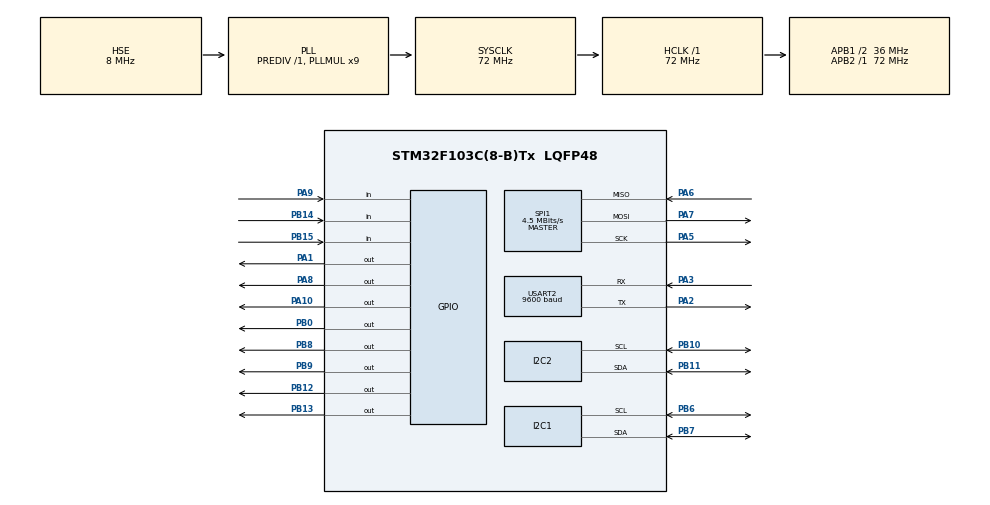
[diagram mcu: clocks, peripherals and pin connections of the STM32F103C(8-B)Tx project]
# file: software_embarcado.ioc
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Dma.I2C1_RX.0.Direction=DMA_PERIPH_TO_MEMORY
Dma.I2C1_RX.0.Instance=DMA1_Channel7
Dma.I2C1_RX.0.MemDataAlignment=DMA_MDATAALIGN_BYTE
Dma.I2C1_RX.0.MemInc=DMA_MINC_ENABLE
Dma.I2C1_RX.0.Mode=DMA_NORMAL
Dma.I2C1_RX.0.PeriphDataAlignment=DMA_PDATAALIGN_BYTE
Dma.I2C1_RX.0.PeriphInc=DMA_PINC_DISABLE
Dma.I2C1_RX.0.Priority=DMA_PRIORITY_LOW
Dma.Request0=I2C1_RX
I2C1.I2C_Mode=I2C_Fast
I2C2.I2C_Mode=I2C_Fast
Mcu.Family=STM32F1
Mcu.Name=STM32F103C(8-B)Tx
Mcu.Package=LQFP48
NVIC.DMA1_Channel7_IRQn=true\:0\:0\:false\:false\:true\:false\:true\:true
NVIC.I2C1_EV_IRQn=true\:0\:0\:false\:false\:true\:true\:true\:true
NVIC.I2C2_EV_IRQn=true\:0\:0\:false\:false\:true\:true\:true\:true
NVIC.PriorityGroup=NVIC_PRIORITYGROUP_4
PA1.Signal=GPIO_Output
PA10.Signal=GPIO_Output
PA13.Mode=Serial_Wire
PA13.Signal=SYS_JTMS-SWDIO
PA14.Mode=Serial_Wire
PA14.Signal=SYS_JTCK-SWCLK
PA2.Mode=Asynchronous
PA2.Signal=USART2_TX
PA3.Mode=Asynchronous
PA3.Signal=USART2_RX
PA5.Mode=Full_Duplex_Master
PA5.Signal=SPI1_SCK
PA6.Mode=Full_Duplex_Master
PA6.Signal=SPI1_MISO
PA7.Mode=Full_Duplex_Master
PA7.Signal=SPI1_MOSI
PA8.GPIO_PuPd=GPIO_NOPULL
PA8.Signal=GPIO_Output
PA9.GPIO_PuPd=GPIO_PULLUP
PA9.Signal=GPIO_Input
PB0.Signal=GPIO_Output
PB10.Mode=I2C
PB10.Signal=I2C2_SCL
PB11.Mode=I2C
PB11.Signal=I2C2_SDA
PB12.Signal=GPIO_Output
PB13.Signal=GPIO_Output
PB14.GPIO_PuPd=GPIO_PULLUP
PB14.Signal=GPIO_Input
PB15.GPIO_PuPd=GPIO_PULLUP
PB15.Signal=GPIO_Input
PB6.Mode=I2C
PB6.Signal=I2C1_SCL
PB7.Mode=I2C
PB7.Signal=I2C1_SDA
PB8.Signal=GPIO_Output
PB9.Signal=GPIO_Output
PD0-OSC_IN.Mode=HSE-External-Oscillator
PD0-OSC_IN.Signal=RCC_OSC_IN
PD1-OSC_OUT.Mode=HSE-External-Oscillator
PD1-OSC_OUT.Signal=RCC_OSC_OUT
ProjectManager.HeapSize=0x200
ProjectManager.StackSize=0x400
ProjectManager.TargetToolchain=STM32CubeIDE
RCC.AHBFreq_Value=72000000
RCC.APB1CLKDivider=RCC_HCLK_DIV2
RCC.APB1Freq_Value=36000000
RCC.APB1TimFreq_Value=72000000
RCC.APB2Freq_Value=72000000
RCC.APB2TimFreq_Value=72000000
RCC.HCLKFreq_Value=72000000
RCC.PLLMUL=RCC_PLL_MUL9
RCC.PLLSourceVirtual=RCC_PLLSOURCE_HSE
RCC.SYSCLKFreq_VALUE=72000000
RCC.SYSCLKSource=RCC_SYSCLKSOURCE_PLLCLK
RCC.USBFreq_Value=72000000
SPI1.BaudRatePrescaler=SPI_BAUDRATEPRESCALER_16
SPI1.CalculateBaudRate=4.5 MBits/s
SPI1.Direction=SPI_DIRECTION_2LINES
SPI1.Mode=SPI_MODE_MASTER
SPI1.VirtualType=VM_MASTER
USART2.BaudRate=9600
USART2.VirtualMode=VM_ASYNC
board=custom

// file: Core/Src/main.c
/* USER CODE BEGIN Header */
/**
  ******************************************************************************
  * @file           : main.c
  * @brief          : Main program body
  ******************************************************************************
  * @attention
  *
  * Copyright (c) 2023 STMicroelectronics.
  * All rights reserved.
  *
  * This software is licensed under terms that can be found in the LICENSE file
  * in the root directory of this software component.
  * If no LICENSE file comes with this software, it is provided AS-IS.
  *
  ******************************************************************************
  */
/* USER CODE END Header */
#include "main.h"

I2C_HandleTypeDef hi2c1;
I2C_HandleTypeDef hi2c2;
DMA_HandleTypeDef hdma_i2c1_rx;

SPI_HandleTypeDef hspi1;

UART_HandleTypeDef huart2;

void SystemClock_Config(void);
static void MX_GPIO_Init(void);
static void MX_DMA_Init(void);
static void MX_I2C1_Init(void);
static void MX_I2C2_Init(void);
static void MX_SPI1_Init(void);
static void MX_USART2_UART_Init(void);

/* USER CODE BEGIN 0 */

#define MEMORY_SIZE 20

uint8_t button = 0; // esse botao ON/OFF inicia o processo de lançamento, quando 1, entra no case de aguardando
uint8_t start_recording = 0;
uint8_t pin_state1;
uint8_t pin_state2;

// Definindo os estados da máquina de estados
typedef enum {
  PAUSADO,
  AGUARDANDO_LANCAMENTO,
  LANCADO,
  VOANDO_ACELERADO,
  VOANDO_RETARDADO,
  PARAQUEDAS_ACIONADO
} state;

// Definindo a estrutura para armazenar os dados do veículo
typedef struct {
  float aceleracao;
  float altitude_data;
  float altitude_inicial ;
  float ultima_altitude;
} data_vehicle;

/* USER CODE END 0 */

int main(void)
{

  /* MCU Configuration--------------------------------------------------------*/

  /* Reset of all peripherals, Initializes the Flash interface and the Systick. */
  HAL_Init();

  /* Configure the system clock */
  SystemClock_Config();

  /* Initialize all configured peripherals */
  MX_GPIO_Init();
  MX_DMA_Init();
  MX_I2C1_Init();
  MX_I2C2_Init();
  MX_SPI1_Init();
  MX_USART2_UART_Init();
  /* USER CODE BEGIN 2 */

  // INICIALIZA ESTADO DOS INDICADORES DE PRÉ LANÇAMENTO
	state current_state = PAUSADO;
	data_vehicle data;

	HAL_GPIO_WritePin(GPIOB, GPIO_PIN_3, GPIO_PIN_RESET); // LED
	HAL_GPIO_WritePin(GPIOB, GPIO_PIN_4, GPIO_PIN_RESET); // BUZER

  // INICIALIZA OS PINOS DE ACIONAR CARGA
	HAL_GPIO_WritePin(GPIOB, GPIO_PIN_12, GPIO_PIN_RESET); // ACIONA CARGA 1 = 0
	HAL_GPIO_WritePin(GPIOB, GPIO_PIN_13, GPIO_PIN_RESET); // ACIONA CARGA 2 = 0

	pin_state1 = HAL_GPIO_ReadPin(GPIOB, GPIO_PIN_14); // Lê o estado do pino GPIO14 para carga 1
	pin_state2 = HAL_GPIO_ReadPin(GPIOB, GPIO_PIN_15); // Lê o estado do pino GPIO15 para carga 2

  // CONFIGURAÇÃO DE SENSORES
	MPU6050_Config();
	HAL_DMA_IRQHandler(&hdma_i2c1_rx);

	BMP280_Config(0x02, 0x05, 0x03, 0x00, 0x04);

  // MÉDIA MÓVEL EXPONENCIAL
    AccelData accel_data;
    float alpha = 0.2;
    double memory_x[MEMORY_SIZE];
    double memory_y[MEMORY_SIZE];
    double memory_z[MEMORY_SIZE];
    int memory_index = 0;
    float data_receive[200];

/*
   // memory_x[memory_index] = (float *) malloc(MEMORY_SIZE * sizeof(float));
   // memory_y[memory_index] = (float *) malloc(MEMORY_SIZE * sizeof(float));
   // memory_z[memory_index] = (float *) malloc(MEMORY_SIZE * sizeof(float));
*/
    if (memory_x == NULL || memory_y == NULL || memory_z == NULL) {
        printf("Erro: não foi possível alocar memória.\n");
        exit(1);
    }

  /* USER CODE END 2 */

  /* Infinite loop */
  /* USER CODE BEGIN WHILE */
  while (1)
  {
/*
 * 	uint16_t i;
	for (i = 0; i < 6; i++) {
		memcpy(&data[i], &data_ad[i],1);
	}
*/
	FRAM_ID();

	while (HAL_DMA_GetState(&hdma_i2c1_rx) != HAL_DMA_STATE_READY);
	{
		read_accel();
	}

	float accel_x = accel_data.Ax; // função que lê a aceleração no eixo X
	float accel_y = accel_data.Ay; // função que lê a aceleração no eixo Y
	float accel_z = accel_data.Az; // função que lê a aceleração no eixo Z

	// Calcular EMA para cada eixo
	memory_x[memory_index] = alpha * accel_x + (1 - alpha) * memory_x[memory_index];
	memory_y[memory_index] = alpha * accel_y + (1 - alpha) * memory_y[memory_index];
	memory_z[memory_index] = alpha * accel_z + (1 - alpha) * memory_z[memory_index];

	memory_index = (memory_index + 1) % MEMORY_SIZE;

	if (memory_index == 0) {
		// Envia os dados para a FRAM

	}
	FRAM_Read(0x6000, data_receive, 200);
	HAL_Delay(10);

   // free(memory_x);
   // free(memory_y);
   // free(memory_z);

	/*
	switch (current_state) {
      case PAUSADO:
        if (HAL_GPIO_ReadPin(GPIOA, GPIO_PIN_9) == GPIO_PIN_RESET && pin_state1 == GPIO_PIN_RESET &&  pin_state2 == GPIO_PIN_RESET)
        {
			//GPIO_PIN_RESET = botão pressionado
			HAL_GPIO_WritePin(GPIOA, GPIO_PIN_8, GPIO_PIN_SET); // aciona o LED para indicar gravação

			// as duas cargas estao conectadas e entra em aguardar lançamento
			data.altitude_inicial = altitude[1];
			current_state = AGUARDANDO_LANCAMENTO;
        }
        else if (HAL_GPIO_ReadPin(GPIOA, GPIO_PIN_9) == GPIO_PIN_SET)
        {
        	start_recording = 0;
        	HAL_GPIO_TogglePin(GPIOB, GPIO_PIN_8);
        	current_state = PAUSADO;
        }

      case AGUARDANDO_LANCAMENTO:
        if(data.aceleracao > 0 && data.altitude_data != data.altitude_inicial)
        {
        	current_state = LANCADO;
        }
        else if (data.aceleracao == 0 && data.altitude_data == data.altitude_inicial)
        {
			HAL_GPIO_TogglePin(GPIOA, GPIO_PIN_1); // BUZZER
			HAL_Delay(100);
			HAL_GPIO_TogglePin(GPIOB, GPIO_PIN_9); // LED INDICAÇÃO AGUARDANDO LANÇAMENTO
			HAL_Delay(100);

        	start_recording = 1;
	 	 	 // HAL_GPIO_TogglePin(GPIOB, GPIO_PIN_8); // LED INDICAÇÃO GRAVANDO DADOS
        	current_state = AGUARDANDO_LANCAMENTO;
        }
        break;

      case LANCADO:
        if (data.aceleracao > 0)
        {
        	current_state = VOANDO_ACELERADO;
        }
        break;

      case VOANDO_ACELERADO:
        if (data.aceleracao < -9.8)
        {
        	current_state = VOANDO_RETARDADO;
        }
        else if (data.aceleracao > 0)
        {
        	current_state = VOANDO_ACELERADO;
        }
        break;

      case VOANDO_RETARDADO:
        if (data.aceleracao > -9.8) {
        	current_state = VOANDO_ACELERADO;
			data.ultima_altitude = data.altitude_data;
			//printf("O veiculo estava em voo retardado a %.2f metros de altitude.\n", data.altitude);
        }
        else if (data.aceleracao < -9.8)
        {
        	current_state = VOANDO_RETARDADO;
        }
        else if (data.aceleracao < 0)
        {
        	current_state = PARAQUEDAS_ACIONADO;
        }
        break;

      case PARAQUEDAS_ACIONADO:
        if (data.aceleracao < -9.8 && data.aceleracao < 0)
        {
        	HAL_GPIO_WritePin(GPIOB, GPIO_PIN_12, GPIO_PIN_SET); // ACIONA CARGA 1 = 1;
        	HAL_GPIO_WritePin(GPIOB, GPIO_PIN_13, GPIO_PIN_SET); //ACIONA CARGA 2 = 1; paraquedas on
        	current_state = PARAQUEDAS_ACIONADO;
        }
        //revisar esse elseif
        else if (data.altitude_data == data.altitude_inicial && data.aceleracao == 0 && pin_state1 == GPIO_PIN_SET &&  pin_state2 == GPIO_PIN_SET)
        {
        	current_state = PAUSADO;
        }
        else
        {
        //  printf("O paraquedas foi acionado a uma altitude de %.2f metros.\n", veiculo.ultima_altitude);
        	return 0;
        }
        break;
    }
/*
    /* USER CODE END WHILE */

  }
}

void SystemClock_Config(void)
{
  RCC_OscInitTypeDef RCC_OscInitStruct = {0};
  RCC_ClkInitTypeDef RCC_ClkInitStruct = {0};

  /** Initializes the RCC Oscillators according to the specified parameters
  * in the RCC_OscInitTypeDef structure.
  */
  RCC_OscInitStruct.OscillatorType = RCC_OSCILLATORTYPE_HSE;
  RCC_OscInitStruct.HSEState = RCC_HSE_ON;
  RCC_OscInitStruct.HSEPredivValue = RCC_HSE_PREDIV_DIV1;
  RCC_OscInitStruct.HSIState = RCC_HSI_ON;
  RCC_OscInitStruct.PLL.PLLState = RCC_PLL_ON;
  RCC_OscInitStruct.PLL.PLLSource = RCC_PLLSOURCE_HSE;
  RCC_OscInitStruct.PLL.PLLMUL = RCC_PLL_MUL9;
  if (HAL_RCC_OscConfig(&RCC_OscInitStruct) != HAL_OK)
  {
    Error_Handler();
  }

  /** Initializes the CPU, AHB and APB buses clocks
  */
  RCC_ClkInitStruct.ClockType = RCC_CLOCKTYPE_HCLK|RCC_CLOCKTYPE_SYSCLK
                              |RCC_CLOCKTYPE_PCLK1|RCC_CLOCKTYPE_PCLK2;
  RCC_ClkInitStruct.SYSCLKSource = RCC_SYSCLKSOURCE_PLLCLK;
  RCC_ClkInitStruct.AHBCLKDivider = RCC_SYSCLK_DIV1;
  RCC_ClkInitStruct.APB1CLKDivider = RCC_HCLK_DIV2;
  RCC_ClkInitStruct.APB2CLKDivider = RCC_HCLK_DIV1;

  if (HAL_RCC_ClockConfig(&RCC_ClkInitStruct, FLASH_LATENCY_2) != HAL_OK)
  {
    Error_Handler();
  }
}

static void MX_I2C1_Init(void)
{

  hi2c1.Instance = I2C1;
  hi2c1.Init.ClockSpeed = 400000;
  hi2c1.Init.DutyCycle = I2C_DUTYCYCLE_2;
  hi2c1.Init.OwnAddress1 = 0;
  hi2c1.Init.AddressingMode = I2C_ADDRESSINGMODE_7BIT;
  hi2c1.Init.DualAddressMode = I2C_DUALADDRESS_DISABLE;
  hi2c1.Init.OwnAddress2 = 0;
  hi2c1.Init.GeneralCallMode = I2C_GENERALCALL_DISABLE;
  hi2c1.Init.NoStretchMode = I2C_NOSTRETCH_DISABLE;
  if (HAL_I2C_Init(&hi2c1) != HAL_OK)
  {
    Error_Handler();
  }

}

static void MX_I2C2_Init(void)
{

  hi2c2.Instance = I2C2;
  hi2c2.Init.ClockSpeed = 400000;
  hi2c2.Init.DutyCycle = I2C_DUTYCYCLE_2;
  hi2c2.Init.OwnAddress1 = 0;
  hi2c2.Init.AddressingMode = I2C_ADDRESSINGMODE_7BIT;
  hi2c2.Init.DualAddressMode = I2C_DUALADDRESS_DISABLE;
  hi2c2.Init.OwnAddress2 = 0;
  hi2c2.Init.GeneralCallMode = I2C_GENERALCALL_DISABLE;
  hi2c2.Init.NoStretchMode = I2C_NOSTRETCH_DISABLE;
  if (HAL_I2C_Init(&hi2c2) != HAL_OK)
  {
    Error_Handler();
  }

}

static void MX_SPI1_Init(void)
{

  /* SPI1 parameter configuration*/
  hspi1.Instance = SPI1;
  hspi1.Init.Mode = SPI_MODE_MASTER;
  hspi1.Init.Direction = SPI_DIRECTION_2LINES;
  hspi1.Init.DataSize = SPI_DATASIZE_8BIT;
  hspi1.Init.CLKPolarity = SPI_POLARITY_LOW;
  hspi1.Init.CLKPhase = SPI_PHASE_1EDGE;
  hspi1.Init.NSS = SPI_NSS_SOFT;
  hspi1.Init.BaudRatePrescaler = SPI_BAUDRATEPRESCALER_16;
  hspi1.Init.FirstBit = SPI_FIRSTBIT_MSB;
  hspi1.Init.TIMode = SPI_TIMODE_DISABLE;
  hspi1.Init.CRCCalculation = SPI_CRCCALCULATION_DISABLE;
  hspi1.Init.CRCPolynomial = 10;
  if (HAL_SPI_Init(&hspi1) != HAL_OK)
  {
    Error_Handler();
  }

}

static void MX_USART2_UART_Init(void)
{

  huart2.Instance = USART2;
  huart2.Init.BaudRate = 9600;
  huart2.Init.WordLength = UART_WORDLENGTH_8B;
  huart2.Init.StopBits = UART_STOPBITS_1;
  huart2.Init.Parity = UART_PARITY_NONE;
  huart2.Init.Mode = UART_MODE_TX_RX;
  huart2.Init.HwFlowCtl = UART_HWCONTROL_NONE;
  huart2.Init.OverSampling = UART_OVERSAMPLING_16;
  if (HAL_UART_Init(&huart2) != HAL_OK)
  {
    Error_Handler();
  }

}

static void MX_DMA_Init(void)
{

  /* DMA controller clock enable */
  __HAL_RCC_DMA1_CLK_ENABLE();

  /* DMA interrupt init */
  /* DMA1_Channel7_IRQn interrupt configuration */
  HAL_NVIC_SetPriority(DMA1_Channel7_IRQn, 0, 0);
  HAL_NVIC_EnableIRQ(DMA1_Channel7_IRQn);

}

static void MX_GPIO_Init(void)
{
  GPIO_InitTypeDef GPIO_InitStruct = {0};

  /* GPIO Ports Clock Enable */
  __HAL_RCC_GPIOD_CLK_ENABLE();
  __HAL_RCC_GPIOA_CLK_ENABLE();
  __HAL_RCC_GPIOB_CLK_ENABLE();

  /*Configure GPIO pin Output Level */
  HAL_GPIO_WritePin(GPIOA, GPIO_PIN_1|GPIO_PIN_8|GPIO_PIN_10, GPIO_PIN_RESET);

  /*Configure GPIO pin Output Level */
  HAL_GPIO_WritePin(GPIOB, GPIO_PIN_0|GPIO_PIN_12|GPIO_PIN_13|GPIO_PIN_8
                          |GPIO_PIN_9, GPIO_PIN_RESET);

  /*Configure GPIO pins : PA1 PA8 PA10 */
  GPIO_InitStruct.Pin = GPIO_PIN_1|GPIO_PIN_8|GPIO_PIN_10;
  GPIO_InitStruct.Mode = GPIO_MODE_OUTPUT_PP;
  GPIO_InitStruct.Pull = GPIO_NOPULL;
  GPIO_InitStruct.Speed = GPIO_SPEED_FREQ_LOW;
  HAL_GPIO_Init(GPIOA, &GPIO_InitStruct);

  /*Configure GPIO pins : PB0 PB12 PB13 PB8
                           PB9 */
  GPIO_InitStruct.Pin = GPIO_PIN_0|GPIO_PIN_12|GPIO_PIN_13|GPIO_PIN_8
                          |GPIO_PIN_9;
  GPIO_InitStruct.Mode = GPIO_MODE_OUTPUT_PP;
  GPIO_InitStruct.Pull = GPIO_NOPULL;
  GPIO_InitStruct.Speed = GPIO_SPEED_FREQ_LOW;
  HAL_GPIO_Init(GPIOB, &GPIO_InitStruct);

  /*Configure GPIO pins : PB14 PB15 */
  GPIO_InitStruct.Pin = GPIO_PIN_14|GPIO_PIN_15;
  GPIO_InitStruct.Mode = GPIO_MODE_INPUT;
  GPIO_InitStruct.Pull = GPIO_PULLUP;
  HAL_GPIO_Init(GPIOB, &GPIO_InitStruct);

  /*Configure GPIO pin : PA9 */
  GPIO_InitStruct.Pin = GPIO_PIN_9;
  GPIO_InitStruct.Mode = GPIO_MODE_INPUT;
  GPIO_InitStruct.Pull = GPIO_PULLUP;
  HAL_GPIO_Init(GPIOA, &GPIO_InitStruct);

}

void Error_Handler(void)
{
  __disable_irq();
  while (1)
  {
  }
}
